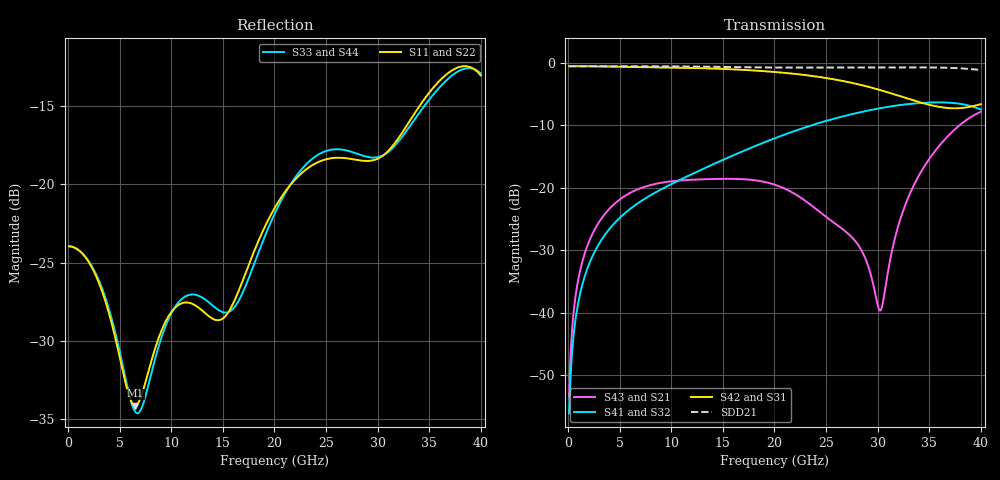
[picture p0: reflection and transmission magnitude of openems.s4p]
! E_s8_L1L8_p1000_oval_g4: pair L1→L8, pitch 1 mm, one oval antipad, 4 GND vias
! stackup: 8-layer 1.6 mm FR-4 (generic)
! ports: 1 P near, 2 N near, 3 P far, 4 N far
! openEMS 0.37.0, staircase, fine mesh (dfine 0.0175 mm), 1705200 cells
# Hz S RI R 50
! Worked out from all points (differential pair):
!   400 points, 100 MHz to 40 GHz, reference 50 ohm
!   strongest paths, dB at 100 MHz, 10.1 GHz, 20.1 GHz, 30.1 GHz, 40 GHz:
!     S42: -0.6, -0.8, -1.5, -4.3, -6.7
!     S31: -0.6, -0.8, -1.5, -4.3, -6.7
!     S41: -56.1, -19.4, -12.1, -7.3, -7.5
!     S32: -56.1, -19.4, -12.1, -7.3, -7.5
!     S43: -53.3, -19.0, -19.6, -39.3, -7.9
!     S21: -53.3, -19.0, -19.6, -39.4, -7.9
!   taken as a pair (ports 2,1 in; 4,3 out), SDD21 dB: -0.6, -0.6, -0.8, -0.8, -1.2
!   lowest |S11| = -34.1 dB at 6.5 GHz (marker M1), VSWR 1.04, Z = 51.7 - j1.13 ohm
!   |S11| at or under -10 dB: start of sweep to end of sweep
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1e8  -0.0634 0.00255  0.00114 0.00183  0.9357 -0.0357  0.000931 -0.00126
     0.00114 0.00183  -0.0634 0.00255  0.000931 -0.00126  0.9357 -0.0357
     0.9357 -0.0357  0.000931 -0.00126  -0.0633 0.00258  0.00114 0.00184
     0.000931 -0.00126  0.9357 -0.0357  0.00114 0.00184  -0.0633 0.00258
6.5e9  0.0164 -0.0109  0.0525 -0.0792  -0.724 -0.5719  -0.0371 0.0622
       0.0525 -0.0792  0.0164 -0.0109  -0.0371 0.0622  -0.724 -0.5719
       -0.7239 -0.5718  -0.0371 0.0622  0.0166 -0.00883  0.0528 -0.079
       -0.0371 0.0622  -0.7239 -0.5718  0.0528 -0.079  0.0166 -0.00883
1.19e10  -0.0257 0.0328  -0.1151 -0.00993  -0.1634 0.8916  0.127 0.00762
         -0.1151 -0.00993  -0.0257 0.0328  0.127 0.00762  -0.1634 0.8916
         -0.1634 0.8915  0.127 0.00763  -0.0257 0.0363  -0.1151 -0.0108
         0.127 0.00763  -0.1634 0.8915  -0.1151 -0.0108  -0.0257 0.0363
1.63e10  0.0341 -0.0275  -0.00378 0.1174  0.8799 0.0476  -0.0105 -0.1856
         -0.00378 0.1174  0.0341 -0.0275  -0.0105 -0.1856  0.8799 0.0476
         0.8795 0.0474  -0.0106 -0.1856  0.0348 -0.0222  -0.00497 0.1174
         -0.0106 -0.1856  0.8795 0.0474  -0.00497 0.1174  0.0348 -0.0222
2.4e10  -0.0523 0.1043  0.0376 -0.0565  -0.762 -0.141  0.0254 0.3218
        0.0376 -0.0565  -0.0523 0.1043  0.0254 0.3218  -0.762 -0.141
        -0.762 -0.1413  0.0252 0.3219  -0.053 0.1109  0.0384 -0.0559
        0.0252 0.3219  -0.762 -0.1413  0.0384 -0.0559  -0.053 0.1109
3.02e10  0.1211 -0.0109  -0.00663 0.008  0.3716 0.4777  0.1405 -0.4082
         -0.00663 0.008  0.1211 -0.0109  0.1405 -0.4082  0.3716 0.4777
         0.3717 0.4767  0.14 -0.4079  0.1226 0.00064  -0.0068 0.00787
         0.14 -0.4079  0.3717 0.4767  -0.0068 0.00787  0.1226 0.00064
4e10  -0.2042 0.088  -0.2949 0.2762  -0.3513 -0.3048  0.3973 0.1439
      -0.2949 0.2762  -0.2042 0.088  0.3973 0.1439  -0.3513 -0.3048
      -0.3502 -0.3056  0.3966 0.1448  -0.2044 0.0957  -0.3012 0.27
      0.3966 0.1448  -0.3502 -0.3056  -0.3012 0.27  -0.2044 0.0957
